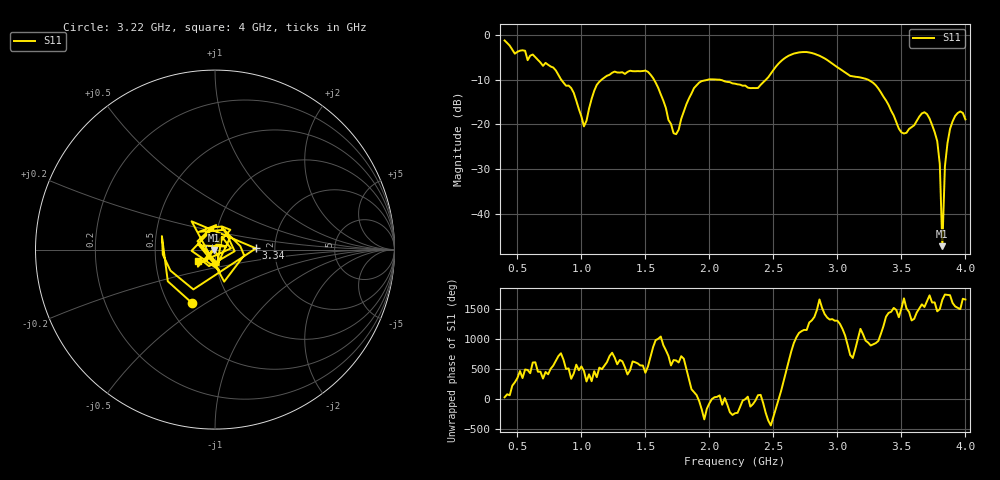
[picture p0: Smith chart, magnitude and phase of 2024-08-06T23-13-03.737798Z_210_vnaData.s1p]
!Created with skrf (http://scikit-rf.org).
# Hz S RI R 50.0
!freq ReS11 ImS11
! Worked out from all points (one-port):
!   181 points, 400 MHz to 4 GHz, reference 50 ohm
!   lowest |S11| = -47.2 dB at 3.82 GHz (marker M1), VSWR 1.01, Z = 49.6 - j0.205 ohm
!   |S11| at or under -10 dB: 1.568 GHz to 1.986 GHz (418.3 MHz wide, 23.5 % of centre); 2.084 GHz to 2.441 GHz (357.5 MHz wide, 15.8 % of centre); 3.241 GHz to end of sweep (the widest 3 of 4)
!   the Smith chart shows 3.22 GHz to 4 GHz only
!   S11 on the Smith chart (normalised r, x): 3.22 GHz: 0.66, -0.44; 3.34 GHz: 1.59, +0.02; 4 GHz: 0.82, -0.10
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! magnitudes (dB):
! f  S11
! 400 MHz  -1.2
! 860 MHz  -10.6
! 940 MHz  -12.9
! 1.02 GHz  -20.4
! 1.12 GHz  -11.1
! 1.3 GHz  -8.4
! 1.52 GHz  -8.2
! 1.6 GHz  -11.8
! 1.72 GHz  -21.9
! 1.76 GHz  -21.2
! 1.92 GHz  -10.6
! 2.2 GHz  -10.9
! 2.38 GHz  -11.8
! 2.66 GHz  -4.1
! 2.86 GHz  -4.6
! 3.1 GHz  -9.1
! 3.22 GHz  -9.8
! 3.34 GHz  -12.8
! 3.5 GHz  -21.8
! 3.56 GHz  -21.0
! 3.68 GHz  -17.3
! 3.76 GHz  -21.7
! 3.8 GHz  -28.8
! 3.82 GHz  -47.2
! 3.84 GHz  -29.4
! 3.88 GHz  -21.0
! 3.94 GHz  -17.4
! 4 GHz  -18.9
